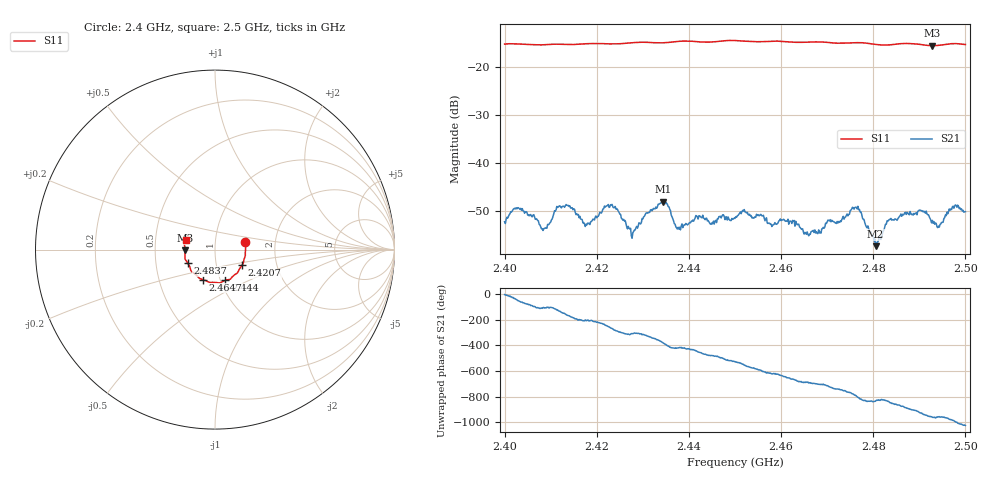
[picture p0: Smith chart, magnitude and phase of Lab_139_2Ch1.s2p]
# Hz S RI R 50
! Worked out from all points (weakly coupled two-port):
!   601 points, 2.4 GHz to 2.5 GHz, reference 50 ohm
!   highest |S21| = -48.16 dB at 2.4343 GHz (marker M1); lowest = -57.4 dB at 2.4805 GHz (marker M2)
!   lowest |S11| = -15.6 dB at 2.4928 GHz (marker M3), VSWR 1.40, Z = 35.8 - j0.346 ohm
!   |S11| at or under -10 dB: start of sweep to end of sweep
!   S12 and S22 are empty: the file has one direction only
!   S11 on the Smith chart (normalised r, x): 2.4 GHz: 1.40, +0.12; 2.4207 GHz: 1.33, -0.24; 2.444 GHz: 1.06, -0.37; 2.4647 GHz: 0.83, -0.29; 2.4837 GHz: 0.73, -0.11; 2.5 GHz: 0.72, +0.08
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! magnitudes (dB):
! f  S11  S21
! 2.4 GHz  -15.3  -52.3
! 2.403 GHz  -15.2  -49.4
! 2.4087 GHz  -15.4  -53.7
! 2.4137 GHz  -15.3  -48.9
! 2.4167 GHz  -15.2  -51.8
! 2.4207 GHz  -15.2  -50.3
! 2.4235 GHz  -15.2  -49.2
! 2.428 GHz  -15.0  -54.4
! 2.4333 GHz  -15.0  -48.7
! 2.4343 GHz  -15.0  -48.2
! 2.4377 GHz  -14.7  -53.5
! 2.444 GHz  -14.9  -52.1
! 2.45 GHz  -14.5  -51.6
! 2.4647 GHz  -14.9  -53.8
! 2.4667 GHz  -14.8  -54.3
! 2.4762 GHz  -15.0  -49.3
! 2.4805 GHz  -15.3  -57.4
! 2.4833 GHz  -15.4  -52.0
! 2.4837 GHz  -15.4  -51.9
! 2.4902 GHz  -15.3  -49.9
! 2.4928 GHz  -15.6  -52.0
! 2.5 GHz  -15.3  -50.2
